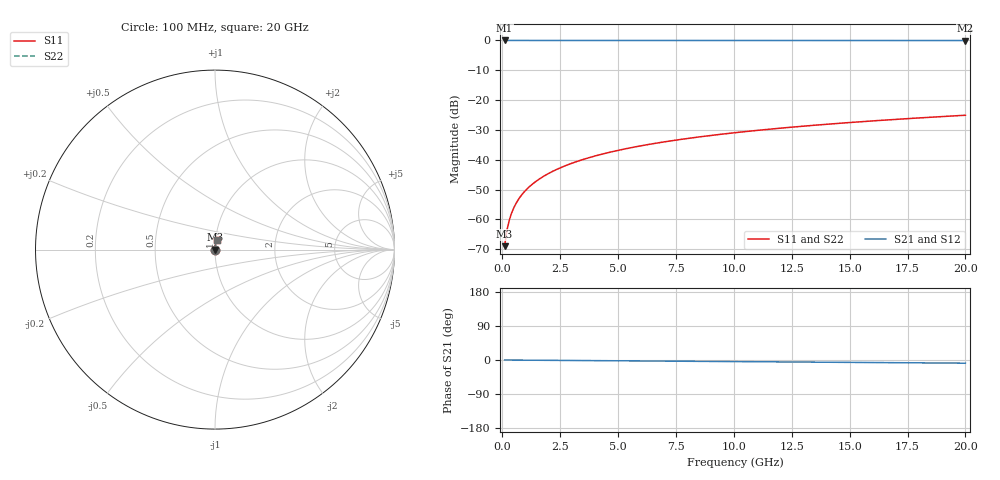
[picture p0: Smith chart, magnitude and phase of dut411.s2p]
! Touchstone file exported from HFSS 2026.1.0
!  File:  C:/ffzhzh/LocalFiles/Ansys_Project_Files/temp_train_TSV_411_1783020566_51716.aedt
!  Generated:  03:31:34 AM Jul  3, 2026
!  Design:  TSV
!  Project:  temp_train_TSV_411_1783020566_51716
! Variables:
!  h_bsmrdl = 2um
!  h_ox = 20um
!  h_rdl = 5um
!  h_sub = 71.88um
!  h_tmrdl = 5um
!  h_tsv = 71.88um
!  h_via = 3um
!  l_bsmrdl = 300um
!  l_sub = 416.12um
!  l_tmrdl = 200um
!  m_sub = 200um
!  pitch = 54.68um
!  r_tsv = 8.06um
!  s_tmrdl = 10um
!  w_bsmrdl = 18um
!  w_sub = 500um
!  w_tmrdl = 12um
!  x_tsv_center1 = 206um
!  x_tsv_center2 = 524um
!  x_tsv_center3 = 736um
!  x_tsv_center4 = 1054um
!  x_tsv_center5 = 1266um
!  x_tsv_center6 = 1584um
# GHz S MA R 50.000000
! Terminal data exported
! Port[1] = TSV1_1_T1
! Port[2] = TSV1_1_T2
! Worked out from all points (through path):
!   200 points, 100 MHz to 20 GHz, reference 50 ohm
!   highest |S21| = 0.00 dB at 100 MHz (marker M1); lowest = 0.0 dB at 20 GHz (marker M2)
!   group delay of S21, straight-line fit = 1.16 ps
!   lowest |S11| = -69.0 dB at 100 MHz (marker M3), VSWR 1.00, Z = 50 + j0.0318 ohm
!   |S11| at or under -10 dB: start of sweep to end of sweep
!   |S22| runs from -69.0 to -25.1 dB; largest |S21 - S12| = 2.3e-15
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0.1  0.0003564 63.2  0.9998 -0.0  0.9998 -0.0  0.0003564 63.2
! Gamma 0 0 0 0
! Port Impedance 50 0 50 0
0.2  0.0006569 74.9  0.9998 -0.1  0.9998 -0.1  0.0006569 74.9
0.3  0.0009653 78.9  0.9998 -0.1  0.9998 -0.1  0.0009653 78.9
0.4  0.001273 80.7  0.9998 -0.2  0.9998 -0.2  0.001273 80.7
0.5  0.001576 81.8  0.9998 -0.2  0.9998 -0.2  0.001576 81.8
0.6  0.001877 82.4  0.9998 -0.3  0.9998 -0.3  0.001877 82.4
0.7  0.002173 82.8  0.9997 -0.3  0.9997 -0.3  0.002173 82.8
0.8  0.002467 83.1  0.9997 -0.3  0.9997 -0.3  0.002467 83.1
1  0.003048 83.6  0.9997 -0.4  0.9997 -0.4  0.003048 83.6
1.4  0.004194 84.3  0.9996 -0.6  0.9996 -0.6  0.004194 84.3
1.7  0.005048 84.7  0.9996 -0.7  0.9996 -0.7  0.005048 84.7
2  0.005901 84.9  0.9995 -0.9  0.9995 -0.9  0.005901 84.9
2.7  0.007888 85.3  0.9995 -1.1  0.9995 -1.1  0.007888 85.3
3.5  0.01015 85.4  0.9994 -1.5  0.9994 -1.5  0.01015 85.4
4.2  0.01213 85.4  0.9993 -1.8  0.9993 -1.8  0.01213 85.4
5  0.01438 85.3  0.9992 -2.1  0.9992 -2.1  0.01438 85.3
6.8  0.01942 84.8  0.999 -2.9  0.999 -2.9  0.01942 84.8
8.3  0.02359 84.4  0.9989 -3.5  0.9989 -3.5  0.02359 84.4
10.1  0.02859 83.9  0.9986 -4.2  0.9986 -4.2  0.02859 83.9
13.4  0.0377 82.7  0.9982 -5.6  0.9982 -5.6  0.0377 82.7
16.7  0.04676 81.5  0.9977 -7.0  0.9977 -7.0  0.04676 81.5
20  0.05576 80.3  0.9971 -8.4  0.9971 -8.4  0.05576 80.3
